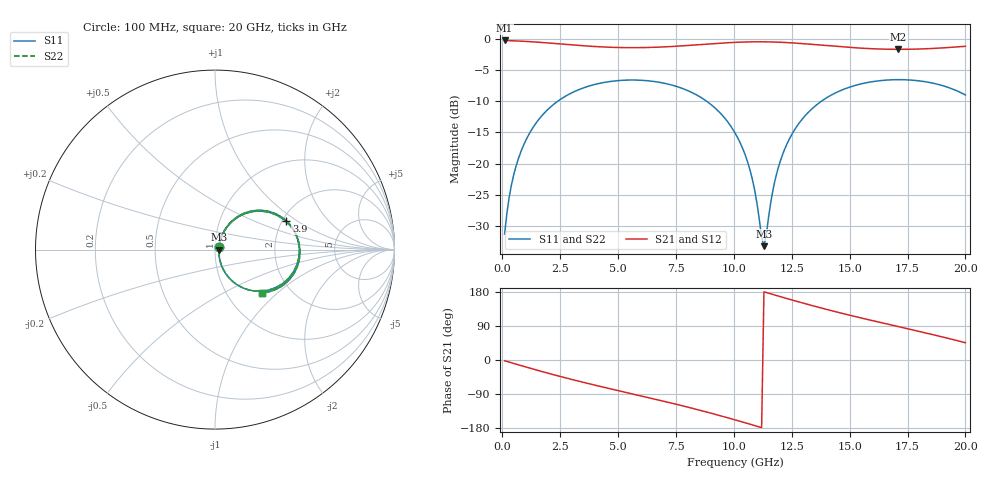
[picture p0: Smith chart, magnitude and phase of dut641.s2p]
! Touchstone file exported from HFSS 2026.1.0
!  File:  C:/ffzhzh/LocalFiles/Ansys_Project_Files/temp_train_TSV_RDL_641_1783127881_35180.aedt
!  Generated:  09:32:01 AM Jul  4, 2026
!  Design:  TSV_RDL
!  Project:  temp_train_TSV_RDL_641_1783127881_35180
! Variables:
!  h_bsmrdl = 2.88um
!  h_ox = 20um
!  h_rdl = 5um
!  h_sub = 87.01um
!  h_tmrdl = 4.07um
!  h_tsv = 87.01um
!  h_via = 3um
!  l_bsmrdl = 860.83um
!  l_sub = 5278.71um
!  l_tmrdl = 534.77um
!  m_sub = 200um
!  pitch = 51.87um
!  r_tsv = 13.29um
!  s_tmrdl = 10um
!  w_bsmrdl = 22.88um
!  w_sub = 500um
!  w_tmrdl = 29.5um
!  x_tsv_center1 = 549.52um
!  x_tsv_center2 = 1433.23um
!  x_tsv_center3 = 1997.5um
!  x_tsv_center4 = 2881.21um
!  x_tsv_center5 = 3445.48um
!  x_tsv_center6 = 4329.19um
# GHz S MA R 50.000000
! Terminal data exported
! Port[1] = TM_RDL1_1_T1
! Port[2] = TM_RDL5_1_T1
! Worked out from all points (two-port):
!   200 points, 100 MHz to 20 GHz, reference 50 ohm
!   highest |S21| = -0.19 dB at 100 MHz (marker M1); lowest = -1.6 dB at 17.1 GHz (marker M2)
!   |S21| within 3 dB of the highest: start of sweep to end of sweep
!   lowest |S11| = -33.3 dB at 11.3 GHz (marker M3), VSWR 1.04, Z = 52.2 + j0.0175 ohm
!   |S11| at or under -10 dB: start of sweep to 2.384 GHz; 8.837 GHz to 13.77 GHz (4.933 GHz wide, 43.6 % of centre)
!   |S22| runs from -33.2 to -6.5 dB; largest |S21 - S12| = 1.7e-14
!   S11 on the Smith chart (normalised r, x): 100 MHz: 1.04, +0.03; 3.9 GHz: 2.10, +0.82; 20 GHz: 1.45, -0.80
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0.1  0.02708 36.9  0.9788 -1.9  0.9788 -1.9  0.02708 36.9
! Gamma 0 0 0 0
! Port Impedance 50 0 50 0
0.3  0.05389 58.6  0.9755 -5.6  0.9755 -5.6  0.05389 58.6
0.5  0.08206 63.1  0.9721 -9.2  0.9721 -9.2  0.08206 63.1
1.1  0.1651 60.8  0.9598 -19.9  0.9598 -19.9  0.1651 60.8
2.1  0.2869 47.7  0.9309 -36.9  0.9309 -36.9  0.2869 47.7
3.5  0.4061 27.6  0.8871 -59.0  0.8871 -59.0  0.4061 27.6
3.9  0.4285 21.9  0.877 -64.9  0.877 -64.9  0.4285 21.9
5.4  0.4697 1.4  0.8566 -86.4  0.8566 -86.4  0.4697 1.4
6.8  0.45 -17.6  0.8655 -106.3  0.8655 -106.3  0.45 -17.6
8.8  0.3199 -46.1  0.9139 -136.9  0.9139 -136.9  0.3198 -46.1
10.1  0.1698 -64.1  0.9458 -158.9  0.9458 -158.9  0.1698 -64.0
10.8  0.07458 -66.6  0.9542 -171.3  0.9542 -171.3  0.0746 -66.5
11.3  0.02162 0.4  0.9546 179.8  0.9546 179.8  0.02181 0.5
11.7  0.06273 60.7  0.9513 172.6  0.9513 172.6  0.06285 60.5
12.1  0.1175 63.3  0.945 165.5  0.945 165.5  0.1175 63.2
12.7  0.1965 57.5  0.9309 155.1  0.9309 155.1  0.1966 57.4
13.4  0.2786 47.9  0.9098 143.3  0.9098 143.3  0.2786 47.8
14.9  0.406 26.5  0.863 119.7  0.863 119.7  0.406 26.5
16.7  0.471 2.2  0.8316 93.8  0.8316 93.8  0.4711 2.2
17.1  0.4734 -3.1  0.8303 88.2  0.8303 88.2  0.4735 -3.1
18.6  0.4435 -23.1  0.844 66.9  0.844 66.9  0.4435 -23.1
20  0.3562 -42.3  0.8781 45.6  0.8781 45.6  0.3562 -42.3
